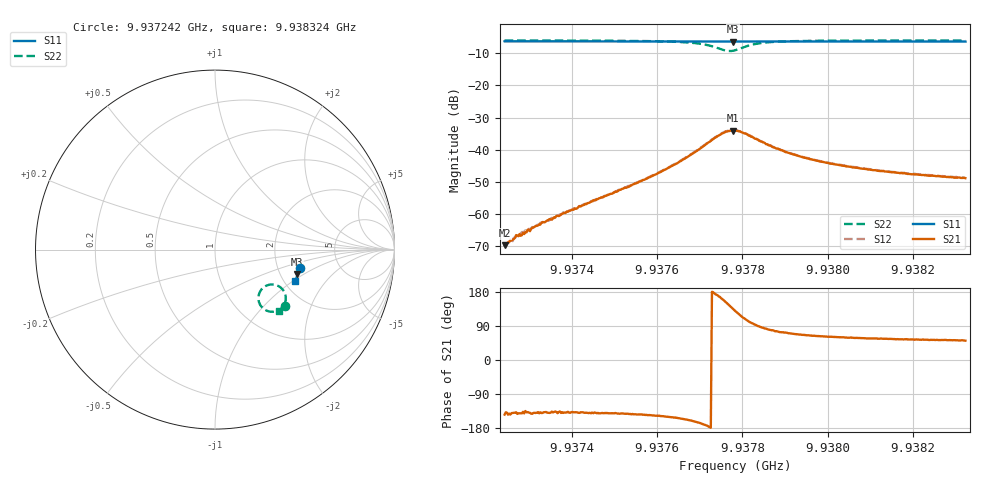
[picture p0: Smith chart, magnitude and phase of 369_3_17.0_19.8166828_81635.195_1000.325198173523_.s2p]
#  HZ  S  RI  R  50.00
! Rohde & Schwarz Vector Network Analyzer
! Rohde-Schwarz,ZNB20-2Port,1311601062101988,3.16
! Created: UTC 3/20/2024, 11:08:40 PM
! freq[Hz]  re:S11  im:S11  re:S21  im:S21  re:S12  im:S12  re:S22  im:S22
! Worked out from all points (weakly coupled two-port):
!   401 points, 9.937242 GHz to 9.938324 GHz, reference 50 ohm
!   highest |S21| = -34.04 dB at 9.937777 GHz (marker M1); lowest = -69.7 dB at 9.937242 GHz (marker M2)
!   lowest |S11| = -6.4 dB at 9.937777 GHz (marker M3), VSWR 2.84, Z = 123 - j44.3 ohm
!   |S11| at or under -10 dB: nowhere
!   |S22| runs from -9.3 to -6.0 dB; largest |S21 - S12| = 0.00088
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9.9372421e9  0.4724 -0.1044  -0.000263 -0.000191  -0.000272 -0.000201  0.3876 -0.3128
9.9372719e9  0.4718 -0.1064  -0.000369 -0.000285  -0.000365 -0.000284  0.3855 -0.315
9.9372854e9  0.4714 -0.1074  -0.000373 -0.000351  -0.000415 -0.000322  0.3847 -0.3159
9.9372989e9  0.4712 -0.1083  -0.000427 -0.000378  -0.00045 -0.000382  0.3835 -0.3168
9.937334e9  0.4706 -0.1105  -0.000554 -0.0005  -0.000584 -0.000474  0.3809 -0.3194
9.9374233e9  0.4687 -0.1165  -0.001 -0.000899  -0.00103 -0.000902  0.3724 -0.3262
9.9375341e9  0.4662 -0.124  -0.00212 -0.00162  -0.00219 -0.00164  0.3574 -0.3361
9.9376044e9  0.4645 -0.1287  -0.00369 -0.00242  -0.00375 -0.00236  0.3407 -0.3432
9.9376531e9  0.4631 -0.132  -0.00588 -0.00287  -0.00602 -0.0028  0.3205 -0.3463
9.9377125e9  0.4611 -0.1358  -0.0117 -0.00173  -0.012 -0.00155  0.2732 -0.3318
9.9377531e9  0.4593 -0.1377  -0.0169 0.00596  -0.0171 0.00646  0.2418 -0.2653
9.9377666e9  0.459 -0.1381  -0.0163 0.0106  -0.0163 0.0111  0.2531 -0.2306
9.9377774e9  0.4588 -0.1383  -0.0142 0.0139  -0.014 0.0145  0.2743 -0.2079
9.9377828e9  0.4588 -0.1385  -0.0127 0.0152  -0.0125 0.0159  0.2875 -0.2003
9.9378045e9  0.459 -0.1395  -0.00616 0.0169  -0.00575 0.0173  0.3411 -0.1977
9.9378423e9  0.4591 -0.1421  0.000653 0.0135  0.00101 0.0137  0.3861 -0.2365
9.9378775e9  0.4584 -0.1448  0.00264 0.0103  0.00278 0.0104  0.3941 -0.2657
9.9379045e9  0.4579 -0.1466  0.00282 0.00872  0.00298 0.00875  0.3938 -0.2808
9.937964e9  0.4565 -0.1509  0.00309 0.00632  0.00317 0.00634  0.3884 -0.3015
9.9380316e9  0.4547 -0.1554  0.00286 0.00495  0.00302 0.00497  0.3816 -0.3155
9.9381451e9  0.4518 -0.1626  0.00255 0.00373  0.00266 0.00375  0.3717 -0.3296
9.9383236e9  0.4468 -0.1742  0.00227 0.00281  0.00233 0.00286  0.3587 -0.3441
